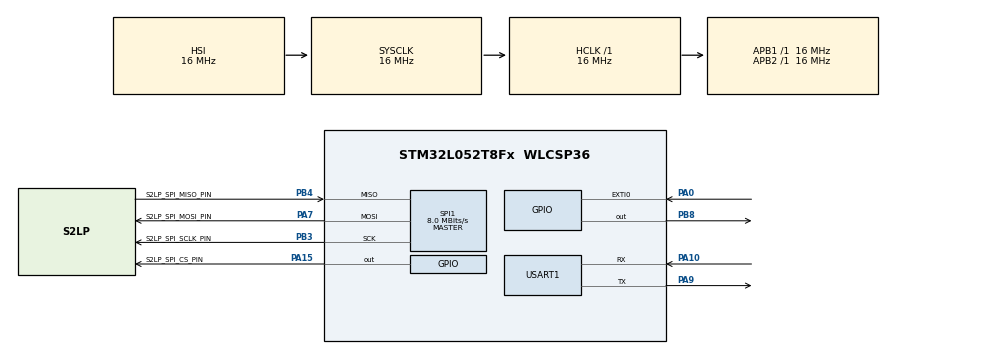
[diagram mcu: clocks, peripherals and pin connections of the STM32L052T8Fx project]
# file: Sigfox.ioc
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Dma.Request0=SPI1_TX
Dma.Request1=SPI1_RX
Dma.Request2=USART1_RX
Dma.Request3=USART1_TX
Dma.SPI1_RX.1.Direction=DMA_PERIPH_TO_MEMORY
Dma.SPI1_RX.1.Instance=DMA1_Channel2
Dma.SPI1_RX.1.MemDataAlignment=DMA_MDATAALIGN_BYTE
Dma.SPI1_RX.1.MemInc=DMA_MINC_ENABLE
Dma.SPI1_RX.1.Mode=DMA_NORMAL
Dma.SPI1_RX.1.PeriphDataAlignment=DMA_PDATAALIGN_BYTE
Dma.SPI1_RX.1.PeriphInc=DMA_PINC_DISABLE
Dma.SPI1_RX.1.Priority=DMA_PRIORITY_HIGH
Dma.SPI1_TX.0.Direction=DMA_MEMORY_TO_PERIPH
Dma.SPI1_TX.0.Instance=DMA1_Channel3
Dma.SPI1_TX.0.MemDataAlignment=DMA_MDATAALIGN_BYTE
Dma.SPI1_TX.0.MemInc=DMA_MINC_ENABLE
Dma.SPI1_TX.0.Mode=DMA_NORMAL
Dma.SPI1_TX.0.PeriphDataAlignment=DMA_PDATAALIGN_BYTE
Dma.SPI1_TX.0.PeriphInc=DMA_PINC_DISABLE
Dma.SPI1_TX.0.Priority=DMA_PRIORITY_HIGH
Dma.USART1_RX.2.Direction=DMA_PERIPH_TO_MEMORY
Dma.USART1_RX.2.Instance=DMA1_Channel5
Dma.USART1_RX.2.MemDataAlignment=DMA_MDATAALIGN_BYTE
Dma.USART1_RX.2.MemInc=DMA_MINC_ENABLE
Dma.USART1_RX.2.Mode=DMA_CIRCULAR
Dma.USART1_RX.2.PeriphDataAlignment=DMA_PDATAALIGN_BYTE
Dma.USART1_RX.2.PeriphInc=DMA_PINC_DISABLE
Dma.USART1_RX.2.Priority=DMA_PRIORITY_LOW
Dma.USART1_TX.3.Direction=DMA_MEMORY_TO_PERIPH
Dma.USART1_TX.3.Instance=DMA1_Channel4
Dma.USART1_TX.3.MemDataAlignment=DMA_MDATAALIGN_BYTE
Dma.USART1_TX.3.MemInc=DMA_MINC_ENABLE
Dma.USART1_TX.3.Mode=DMA_NORMAL
Dma.USART1_TX.3.PeriphDataAlignment=DMA_PDATAALIGN_BYTE
Dma.USART1_TX.3.PeriphInc=DMA_PINC_DISABLE
Dma.USART1_TX.3.Priority=DMA_PRIORITY_LOW
Mcu.Family=STM32L0
Mcu.Name=STM32L052T8Fx
Mcu.Package=WLCSP36
NVIC.DMA1_Channel2_3_IRQn=true\:1\:0\:true\:false\:true\:false\:true
NVIC.DMA1_Channel4_5_6_7_IRQn=true\:0\:0\:false\:false\:true\:false\:true
NVIC.EXTI0_1_IRQn=true\:0\:0\:true\:false\:true\:true\:true
NVIC.RTC_IRQn=true\:1\:0\:true\:false\:true\:true\:true
NVIC.TIM6_DAC_IRQn=true\:1\:0\:true\:false\:true\:true\:true
PA0.GPIO_ModeDefaultEXTI=GPIO_MODE_IT_FALLING
PA0.Signal=GPXTI0
PA10.Mode=Asynchronous
PA10.Signal=USART1_RX
PA13.Mode=Serial_Wire
PA13.Signal=SYS_SWDIO
PA14.Mode=Serial_Wire
PA14.Signal=SYS_SWCLK
PA15.GPIO_Label=S2LP_SPI_CS_PIN
PA15.GPIO_PuPd=GPIO_PULLUP
PA15.GPIO_Speed=GPIO_SPEED_FREQ_HIGH
PA15.PinState=GPIO_PIN_SET
PA15.Signal=GPIO_Output
PA7.GPIO_Label=S2LP_SPI_MOSI_PIN
PA7.GPIO_PuPd=GPIO_PULLUP
PA7.GPIO_Speed=GPIO_SPEED_FREQ_HIGH
PA7.Mode=Full_Duplex_Master
PA7.Signal=SPI1_MOSI
PA9.Mode=Asynchronous
PA9.Signal=USART1_TX
PB3.GPIO_Label=S2LP_SPI_SCLK_PIN
PB3.GPIO_PuPd=GPIO_PULLUP
PB3.GPIO_Speed=GPIO_SPEED_FREQ_HIGH
PB3.Mode=Full_Duplex_Master
PB3.Signal=SPI1_SCK
PB4.GPIO_Label=S2LP_SPI_MISO_PIN
PB4.GPIO_PuPd=GPIO_PULLUP
PB4.GPIO_Speed=GPIO_SPEED_FREQ_HIGH
PB4.Mode=Full_Duplex_Master
PB4.Signal=SPI1_MISO
PB8.GPIO_FM8=__NULL
PB8.GPIO_Speed=GPIO_SPEED_FREQ_HIGH
PB8.Signal=GPIO_Output
ProjectManager.HeapSize=0x200
ProjectManager.StackSize=0x400
ProjectManager.TargetToolchain=MDK-ARM V5
RCC.AHBFreq_Value=16000000
RCC.APB1Freq_Value=16000000
RCC.APB1TimFreq_Value=16000000
RCC.APB2Freq_Value=16000000
RCC.APB2TimFreq_Value=16000000
RCC.HCLKFreq_Value=16000000
RCC.HSI16_VALUE=16000000
RCC.HSI48_VALUE=48000000
RCC.HSI_VALUE=16000000
RCC.LSE_VALUE=32768
RCC.MSI_VALUE=2097000
RCC.PLLDIV=RCC_PLLDIV_4
RCC.PLLMUL=RCC_PLLMUL_4
RCC.SYSCLKFreq_VALUE=16000000
RCC.SYSCLKSource=RCC_SYSCLKSOURCE_HSI
RCC.VCOOutputFreq_Value=64000000
RTC.AsynchPrediv=127
RTC.SynchPrediv=255
RTC.WakeUpCounter=1000
SPI1.BaudRatePrescaler=SPI_BAUDRATEPRESCALER_2
SPI1.CalculateBaudRate=8.0 MBits/s
SPI1.Direction=SPI_DIRECTION_2LINES
SPI1.Mode=SPI_MODE_MASTER
SPI1.VirtualNSS=VM_NSSHARD
SPI1.VirtualType=VM_MASTER
TIM6.Period=1000-1
TIM6.Prescaler=64-1
USART1.VirtualMode-Asynchronous=VM_ASYNC
VP_RTC_VS_RTC_Activate.Mode=RTC_Enabled
VP_RTC_VS_RTC_Calendar.Mode=RTC_Calendar
VP_RTC_VS_RTC_WakeUp_intern.Mode=WakeUp
VP_TIM6_VS_ClockSourceINT.Mode=Enable_Timer
board=custom

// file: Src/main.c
/* USER CODE BEGIN Header */
/**
  ******************************************************************************
  * @file           : main.c
  * @brief          : Main program body
  ******************************************************************************
  * @attention
  *
  * <h2><center>&copy; Copyright (c) 2019 STMicroelectronics.
  * All rights reserved.</center></h2>
  *
  * This software component is licensed by ST under BSD 3-Clause license,
  * the "License"; You may not use this file except in compliance with the
  * License. You may obtain a copy of the License at:
  *                        opensource.org/licenses/BSD-3-Clause
  *
  ******************************************************************************
  */
/* USER CODE END Header */

#include "main.h"
#include "dma.h"
#include "rtc.h"
#include "spi.h"
#include "tim.h"
#include "usart.h"
#include "gpio.h"

/* USER CODE BEGIN Includes */
#include "monarch_app.h"
/* USER CODE END Includes */

/* USER CODE BEGIN PV */
TIM_HandleTypeDef  Tim6_Handler={.Instance=TIM6};
/* USER CODE END PV */

void SystemClock_Config(void);

int main(void)
{

  /* MCU Configuration--------------------------------------------------------*/

  /* Reset of all peripherals, Initializes the Flash interface and the Systick. */
  HAL_Init();

  /* Configure the system clock */
  SystemClock_Config();

  /* Initialize all configured peripherals */
  MX_GPIO_Init();
  MX_DMA_Init();
  MX_SPI1_Init();
  MX_TIM6_Init();
  MX_RTC_Init();
  MX_USART1_UART_Init();
  /* USER CODE BEGIN 2 */

	mcuConfig();

  /* USER CODE END 2 */

  /* Infinite loop */
  while (1)
  {

    /* USER CODE BEGIN 3 */

		if(getScanStatus()) {
			monarchScan(ALL_REGIONS, 6, SFX_TIME_M);
			setScanStatus(0);
		}

		configRegion();

  }
  /* USER CODE END 3 */
}

void SystemClock_Config(void)
{
  RCC_OscInitTypeDef RCC_OscInitStruct = {0};
  RCC_ClkInitTypeDef RCC_ClkInitStruct = {0};
  RCC_PeriphCLKInitTypeDef PeriphClkInit = {0};

  /** Configure the main internal regulator output voltage
  */
  __HAL_PWR_VOLTAGESCALING_CONFIG(PWR_REGULATOR_VOLTAGE_SCALE1);
  /** Initializes the CPU, AHB and APB busses clocks
  */
  RCC_OscInitStruct.OscillatorType = RCC_OSCILLATORTYPE_HSI|RCC_OSCILLATORTYPE_LSI;
  RCC_OscInitStruct.HSIState = RCC_HSI_ON;
  RCC_OscInitStruct.HSICalibrationValue = RCC_HSICALIBRATION_DEFAULT;
  RCC_OscInitStruct.LSIState = RCC_LSI_ON;
  RCC_OscInitStruct.PLL.PLLState = RCC_PLL_NONE;
  if (HAL_RCC_OscConfig(&RCC_OscInitStruct) != HAL_OK)
  {
    Error_Handler();
  }
  /** Initializes the CPU, AHB and APB busses clocks
  */
  RCC_ClkInitStruct.ClockType = RCC_CLOCKTYPE_HCLK|RCC_CLOCKTYPE_SYSCLK
                              |RCC_CLOCKTYPE_PCLK1|RCC_CLOCKTYPE_PCLK2;
  RCC_ClkInitStruct.SYSCLKSource = RCC_SYSCLKSOURCE_HSI;
  RCC_ClkInitStruct.AHBCLKDivider = RCC_SYSCLK_DIV1;
  RCC_ClkInitStruct.APB1CLKDivider = RCC_HCLK_DIV1;
  RCC_ClkInitStruct.APB2CLKDivider = RCC_HCLK_DIV1;

  if (HAL_RCC_ClockConfig(&RCC_ClkInitStruct, FLASH_LATENCY_0) != HAL_OK)
  {
    Error_Handler();
  }
  PeriphClkInit.PeriphClockSelection = RCC_PERIPHCLK_USART1|RCC_PERIPHCLK_RTC;
  PeriphClkInit.Usart1ClockSelection = RCC_USART1CLKSOURCE_PCLK2;
  PeriphClkInit.RTCClockSelection = RCC_RTCCLKSOURCE_LSI;
  if (HAL_RCCEx_PeriphCLKConfig(&PeriphClkInit) != HAL_OK)
  {
    Error_Handler();
  }
}

/* USER CODE BEGIN 4 */

void mcuConfig(void) {
	ST_SFX_ERR stSfxRetErr;

	ST_Init();

	NVM_BoardDataType sfxConfiguration;
  stSfxRetErr = ST_Sigfox_Init(&sfxConfiguration, 0);

	if(stSfxRetErr != ST_SFX_ERR_NONE)
  {
    /* If an error occured reading Sigfox credentials (for example the board has never been registered)
     * automatically set the test mode credentials. */
    if(stSfxRetErr == ST_SFX_ERR_CREDENTIALS)
    {
			sfxConfiguration.id = 0;
			memset(sfxConfiguration.pac, 0x00, 8);
			sfxConfiguration.rcz = 0;

		} else
				printf("Error!\n");

	}

	  /* Calibrate RTC in case of STM32*/
#if  !(defined(BLUENRG2_DEVICE) || defined(BLUENRG1_DEVICE))
  /* The low level driver uses the internal RTC as a timer while the STM32 is in low power.
  This function calibrates the RTC using an auxiliary general purpose timer in order to
  increase its precision. */
  ST_MCU_API_TimerCalibration(500);
#endif

	printf("Sigfox Monarch iMCP HT32SX\n");
  printf("ID: %.8X - PAC: ", sfxConfiguration.id);

	for(uint16_t i = 0; i < sizeof(sfxConfiguration.pac); i++)
		printf("%.2X", sfxConfiguration.pac[i]);

	printf("\n");

	ST_RF_API_set_xtal_freq(50000000);
  ST_RF_API_set_freq_offset(sfxConfiguration.freqOffset);
	ST_RF_API_set_rssi_offset(sfxConfiguration.rssiOffset);
	ST_RF_API_set_lbt_thr_offset(sfxConfiguration.lbtOffset);

}

void ST_Init(void)
{
  /* Put the radio off */
  S2LPShutdownInit();
	HAL_Delay(10);
  S2LPShutdownExit();

  /* Init TIM6 which will trigger TX */
  SdkEvalTimersState(&Tim6_Handler, ENABLE);

  /* Auto detect settings, if EEPROM is available */
#if EEPROM_PRESENT == EEPROM_YES
  /* Identify the S2-LP RF board reading some production data */
  S2LPManagementIdentificationRFBoard();
#elif EEPROM_PRESENT==EEPROM_NO
  /* Set XTAL frequency with offset */
  S2LPRadioSetXtalFrequency(XTAL_FREQUENCY+XTAL_FREQUENCY_OFFSET);

  /* Set the frequency base */
  S2LPManagementSetBand(BOARD_FREQUENCY_BAND);

  /* Configure PA availability */
#if S2LP_FEM_PRESENT == S2LP_FEM_NO
  S2LPManagementSetRangeExtender(0);
#else
  S2LPManagementSetRangeExtender(1);
#endif
#endif

  /* uC IRQ config and enable */

	S2LPIRQInit();
  S2LPIRQEnable(ENABLE, M2S_GPIO_EDGE_EVENT);

    /* FEM Initialization */
  FEM_Init();

    /* TCXO Initialization */
  //TCXO_Init();

}

/* USER CODE END 4 */

void Error_Handler(void)
{
}

/************************ (C) COPYRIGHT STMicroelectronics *****END OF FILE****/
